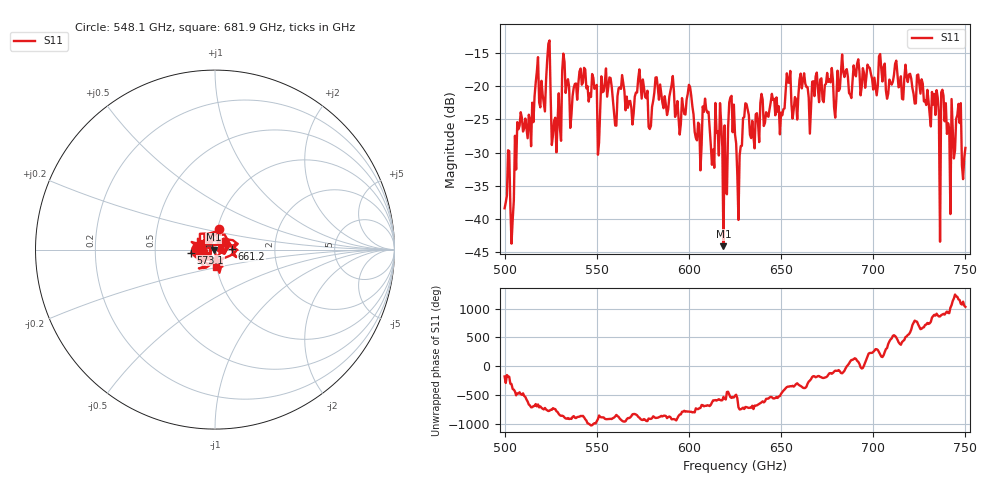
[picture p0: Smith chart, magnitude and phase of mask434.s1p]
!Created with skrf (http://scikit-rf.org).
# GHz S MA R 50.0
!freq magS11 angS11
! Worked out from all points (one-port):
!   401 points, 500 GHz to 750 GHz, reference 50 ohm
!   lowest |S11| = -44.1 dB at 618.8 GHz (marker M1), VSWR 1.01, Z = 49.4 - j0.0837 ohm
!   |S11| at or under -10 dB: start of sweep to end of sweep
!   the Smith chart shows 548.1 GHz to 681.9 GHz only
!   S11 on the Smith chart (normalised r, x): 548.1 GHz: 1.02, +0.24; 573.1 GHz: 0.76, -0.03; 661.2 GHz: 1.21, +0.01; 681.9 GHz: 0.99, -0.19
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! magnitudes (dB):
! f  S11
! 500 GHz  -38.4
! 517.5 GHz  -17.8
! 523.8 GHz  -13.5
! 526.9 GHz  -25.2
! 531.2 GHz  -17.6
! 548.1 GHz  -18.7
! 550.6 GHz  -30.3
! 562.5 GHz  -20.1
! 573.1 GHz  -17.4
! 593.8 GHz  -22.2
! 600 GHz  -19.8
! 605.6 GHz  -25.8
! 609.4 GHz  -23.5
! 618.8 GHz  -44.1
! 623.1 GHz  -21.4
! 625 GHz  -27.2
! 627.5 GHz  -30.5
! 630.6 GHz  -22.6
! 656.2 GHz  -24.9
! 661.2 GHz  -20.3
! 681.9 GHz  -20.4
! 687.5 GHz  -21.2
! 718.8 GHz  -19.3
! 735 GHz  -21.7
! 738.1 GHz  -21.4
! 743.1 GHz  -26.6
! 746.2 GHz  -22.6
! 750 GHz  -29.3
